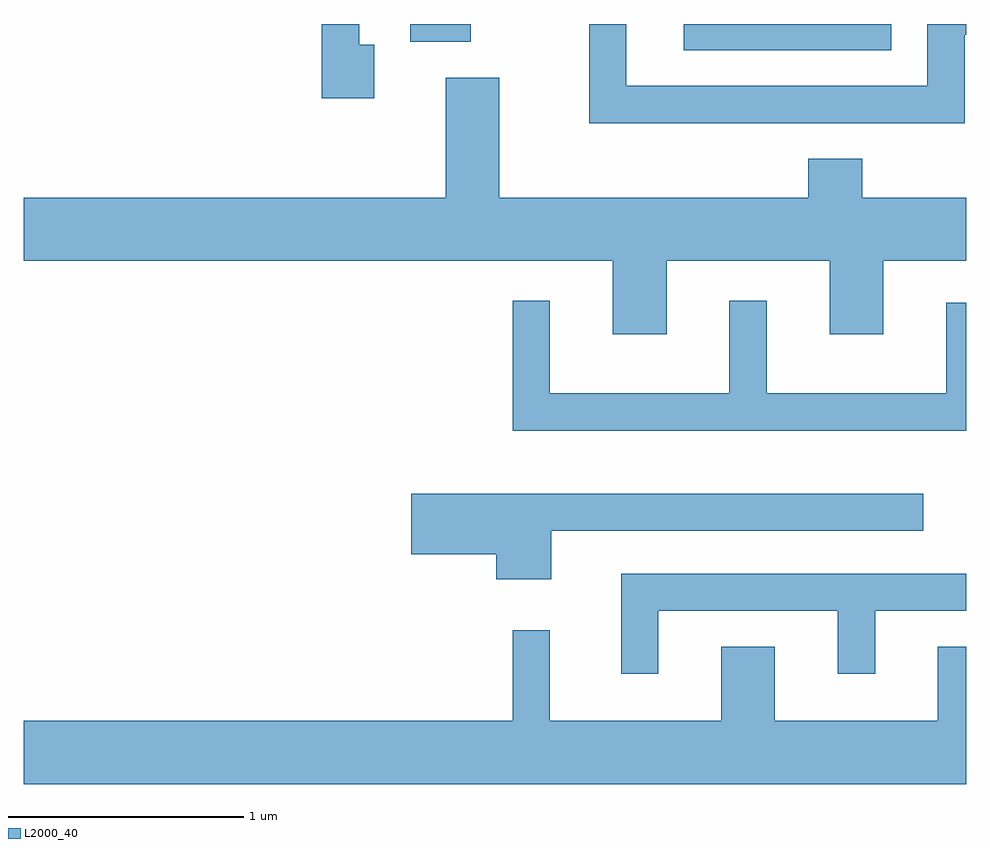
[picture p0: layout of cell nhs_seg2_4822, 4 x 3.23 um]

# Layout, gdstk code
import gdstk
lib = gdstk.Library(unit=1e-6, precision=1e-09)
def R(c, l, rs):  # rectangles x0, y0, x1, y1
    for r in rs: c.add(gdstk.rectangle(r[:2], r[2:], *l))
def P(c, l, *ps):  # polygons
    for p in ps: c.add(gdstk.Polygon(p, *l))
L2000_40 = (2000, 40)

nhs_seg2_4822 = lib.new_cell('nhs_seg2_4822')
R(nhs_seg2_4822, L2000_40, [(330.413,1013.691,331.294,1013.802), (329.251,1013.726,329.509,1013.802)])
P(nhs_seg2_4822, L2000_40, [(331.604,1013.756),(331.611,1013.756),(331.611,1013.802),(331.446,1013.802),(331.446,1013.539),(330.169,1013.539),(330.169,1013.802),(330.011,1013.802),(330.011,1013.381),(331.604,1013.381)],
  [(329.099,1013.714),(329.034,1013.714),(329.034,1013.802),(328.876,1013.802),(328.876,1013.486),(329.099,1013.486)],
  [(329.629,1013.574),(329.401,1013.574),(329.401,1013.064),(327.611,1013.064),(327.611,1012.796),(330.111,1012.796),(330.111,1012.486),(330.339,1012.486),(330.339,1012.796),(331.031,1012.796),(331.031,1012.486),(331.259,1012.486),(331.259,1012.796),(331.611,1012.796),(331.611,1013.064),(331.169,1013.064),(331.169,1013.229),(330.941,1013.229),(330.941,1013.064),(329.629,1013.064)],
  [(331.611,1012.619),(331.526,1012.619),(331.526,1012.234),(330.764,1012.234),(330.764,1012.628),(330.606,1012.628),(330.606,1012.234),(329.844,1012.234),(329.844,1012.628),(329.686,1012.628),(329.686,1012.076),(331.611,1012.076)],
  [(329.849,1011.651),(331.428,1011.651),(331.428,1011.809),(329.256,1011.809),(329.256,1011.551),(329.616,1011.551),(329.616,1011.446),(329.849,1011.446)],
  [(330.304,1011.311),(331.066,1011.311),(331.066,1011.043),(331.224,1011.043),(331.224,1011.311),(331.611,1011.311),(331.611,1011.469),(330.146,1011.469),(330.146,1011.043),(330.304,1011.043)],
  [(331.611,1011.159),(331.491,1011.159),(331.491,1010.844),(330.799,1010.844),(330.799,1011.159),(330.571,1011.159),(330.571,1010.844),(329.844,1010.844),(329.844,1011.228),(329.686,1011.228),(329.686,1010.844),(327.611,1010.844),(327.611,1010.576),(331.611,1010.576)])

lib.write_gds('nhs_seg2_4822.gds')
